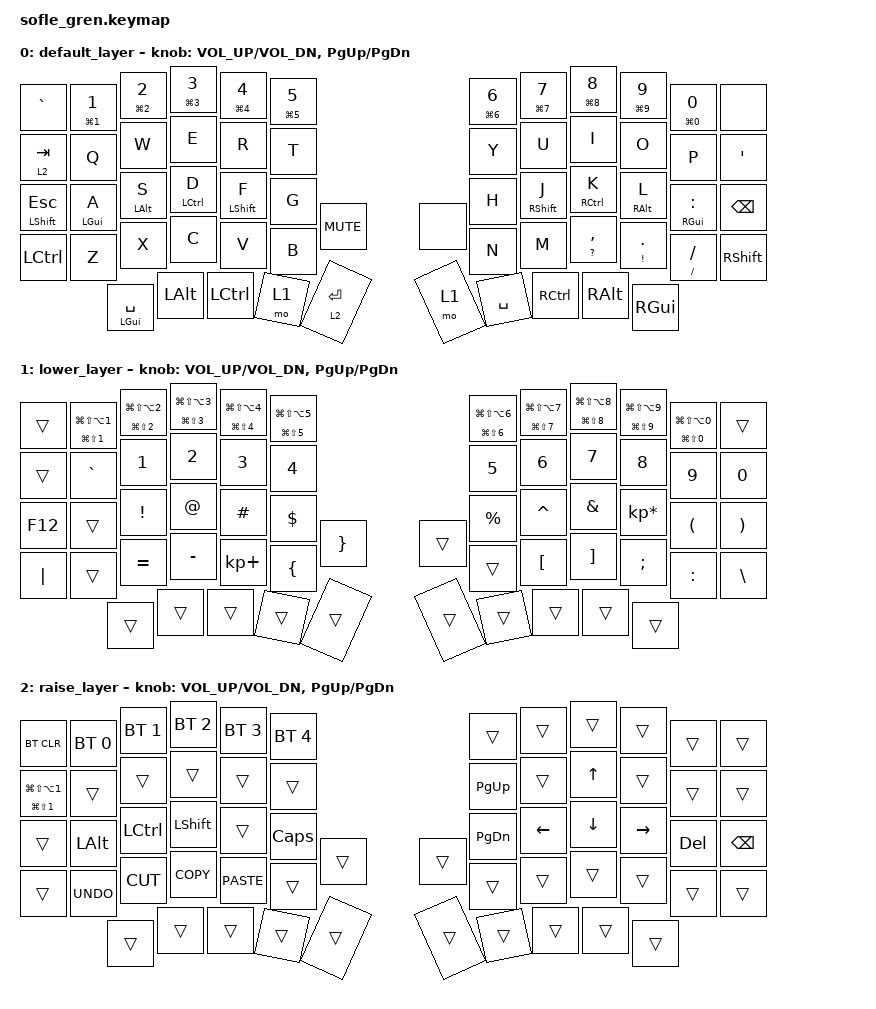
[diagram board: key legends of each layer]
#include <behaviors.dtsi>
#include <dt-bindings/zmk/bt.h>
#include <dt-bindings/zmk/keys.h>

/ {
    keymap {
        compatible = "zmk,keymap";

        default_layer {
            bindings = <
&kp GRAVE       &mt LG(NUMBER_1) NUMBER_1  &mt LG(NUMBER_2) NUMBER_2  &mt LG(NUMBER_3) NUMBER_3  &mt LG(NUMBER_4) NUMBER_4  &mt LG(NUMBER_5) NUMBER_5                     &mt LG(NUMBER_6) NUMBER_6  &mt LG(NUMBER_7) NUMBER_7  &mt LG(NUMBER_8) NUMBER_8  &mt LG(NUMBER_9) NUMBER_9  &mt LG(NUMBER_0) NUMBER_0  &none
&lt 2 TAB       &kp Q                      &kp W                      &kp E                      &kp R                      &kp T                                         &kp Y                      &kp U                      &kp I                      &kp O                      &kp P                      &kp SQT
&mt LSHIFT ESC  &mt LEFT_GUI A             &mt LEFT_ALT S             &mt LEFT_CONTROL D         &mt LEFT_SHIFT F           &kp G                                         &kp H                      &mt RIGHT_SHIFT J          &mt RIGHT_CONTROL K        &mt RIGHT_ALT L            &mt RIGHT_GUI COLON        &kp BSPC
&kp LCTRL       &kp Z                      &kp X                      &kp C                      &kp V                      &kp B                      &kp C_MUTE  &none  &kp N                      &kp M                      &mt QMARK COMMA            &mt EXCL DOT               &mt SLASH FSLH             &kp RSHFT
                                           &mt LGUI SPACE             &kp LALT                   &kp LCTRL                  &mo 1                      &lt 2 RET   &mo 1  &kp SPACE                  &kp RCTRL                  &kp RALT                   &kp RGUI
            >;

            sensor-bindings = <&inc_dec_kp C_VOL_UP C_VOL_DN &inc_dec_kp PG_UP PG_DN>;
        };

        lower_layer {
            bindings = <
&trans    &mt LG(LS(NUMBER_1)) LG(LS(LA(NUMBER_1)))  &mt LG(LS(NUMBER_2)) LG(LS(LA(NUMBER_2)))  &mt LG(LS(NUMBER_3)) LG(LS(LA(NUMBER_3)))  &mt LG(LS(NUMBER_4)) LG(LS(LA(NUMBER_4)))  &mt LG(LS(NUMBER_5)) LG(LS(LA(NUMBER_5)))                    &mt LG(LS(NUMBER_6)) LG(LS(LA(NUMBER_6)))  &mt LG(LS(NUMBER_7)) LG(LS(LA(NUMBER_7)))  &mt LG(LS(NUMBER_8)) LG(LS(LA(NUMBER_8)))  &mt LG(LS(NUMBER_9)) LG(LS(LA(NUMBER_9)))  &mt LG(LS(NUMBER_0)) LG(LS(LA(NUMBER_0)))  &trans
&trans    &kp GRAVE                                  &kp N1                                     &kp N2                                     &kp N3                                     &kp N4                                                       &kp N5                                     &kp N6                                     &kp N7                                     &kp N8                                     &kp N9                                     &kp N0
&kp F12   &trans                                     &kp EXCL                                   &kp AT                                     &kp HASH                                   &kp DLLR                                                     &kp PRCNT                                  &kp CARET                                  &kp AMPS                                   &kp KP_MULTIPLY                            &kp LPAR                                   &kp RPAR
&kp PIPE  &trans                                     &kp EQUAL                                  &kp MINUS                                  &kp KP_PLUS                                &kp LBRC                                   &kp RBRC  &trans  &trans                                     &kp LBKT                                   &kp RBKT                                   &kp SEMI                                   &kp COLON                                  &kp BSLH
                                                     &trans                                     &trans                                     &trans                                     &trans                                     &trans    &trans  &trans                                     &trans                                     &trans                                     &trans
            >;

            sensor-bindings = <&inc_dec_kp C_VOL_UP C_VOL_DN &inc_dec_kp PG_UP PG_DN>;
        };

        raise_layer {
            bindings = <
&bt BT_CLR                                 &bt BT_SEL 0  &bt BT_SEL 1  &bt BT_SEL 2  &bt BT_SEL 3  &bt BT_SEL 4                  &trans     &trans    &trans    &trans     &trans   &trans
&mt LG(LS(NUMBER_1)) LG(LS(LA(NUMBER_1)))  &trans        &trans        &trans        &trans        &trans                        &kp PG_UP  &trans    &kp UP    &trans     &trans   &trans
&trans                                     &kp LALT      &kp LCTRL     &kp LSHFT     &trans        &kp CLCK                      &kp PG_DN  &kp LEFT  &kp DOWN  &kp RIGHT  &kp DEL  &kp BSPC
&trans                                     &kp K_UNDO    &kp K_CUT     &kp K_COPY    &kp K_PASTE   &trans        &trans  &trans  &trans     &trans    &trans    &trans     &trans   &trans
                                                         &trans        &trans        &trans        &trans        &trans  &trans  &trans     &trans    &trans    &trans
            >;

            sensor-bindings = <&inc_dec_kp C_VOL_UP C_VOL_DN &inc_dec_kp PG_UP PG_DN>;
        };
    };
};
